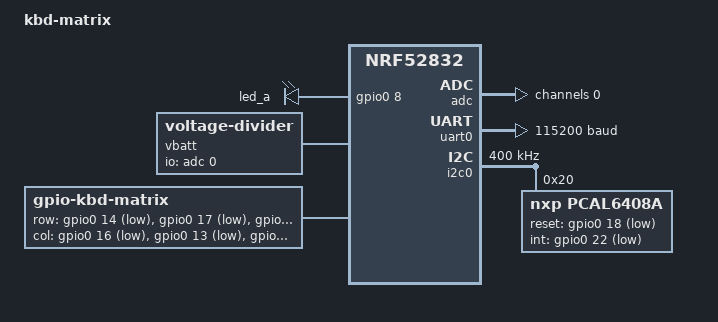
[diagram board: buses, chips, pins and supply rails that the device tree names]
/dts-v1/;
#include <nordic/nrf52832_qfaa.dtsi>
#include <zephyr/dt-bindings/input/input-event-codes.h>
#include "kbd_matrix-pinctrl.dtsi"

/ {
	model = "kbd-matrix";
	compatible = "balto,kbd-matrix";

	chosen {
		zephyr,console = &uart0;
		zephyr,shell-uart = &uart0;
		zephyr,uart-mcumgr = &uart0;
		zephyr,sram = &sram0;
		zephyr,flash = &flash0;
		zephyr,code-partition = &slot0_partition;
	};

	leds {
		compatible = "gpio-leds";
		led_a {
			gpios = <&gpio0 8 GPIO_ACTIVE_HIGH>;
		};
	};

	vbatt: vbatt {
		compatible = "voltage-divider";
		io-channels = <&adc 0>;
		output-ohms = <(560 * 1000)>;
		full-ohms = <(560 * 1000 * 2)>;
	};

	kbd-matrix {
		compatible = "gpio-kbd-matrix";
		row-gpios = <&gpio0 14 (GPIO_PULL_UP | GPIO_ACTIVE_LOW)>,
			    <&gpio0 17 (GPIO_PULL_UP | GPIO_ACTIVE_LOW)>,
			    <&gpio0 15 (GPIO_PULL_UP | GPIO_ACTIVE_LOW)>,
			    <&gpio0 11 (GPIO_PULL_UP | GPIO_ACTIVE_LOW)>,
			    <&gpio0  9 (GPIO_PULL_UP | GPIO_ACTIVE_LOW)>;
		/*
		row-gpios = <&pcal6408a 0 (GPIO_PULL_UP | GPIO_ACTIVE_LOW)>,
			    <&pcal6408a 1 (GPIO_PULL_UP | GPIO_ACTIVE_LOW)>,
			    <&pcal6408a 2 (GPIO_PULL_UP | GPIO_ACTIVE_LOW)>,
			    <&pcal6408a 3 (GPIO_PULL_UP | GPIO_ACTIVE_LOW)>,
			    <&pcal6408a 4 (GPIO_PULL_UP | GPIO_ACTIVE_LOW)>;
		*/
		col-gpios = <&gpio0 16 GPIO_ACTIVE_LOW>,
			    <&gpio0 13 GPIO_ACTIVE_LOW>,
			    <&gpio0 12 GPIO_ACTIVE_LOW>,
			    <&gpio0 10 GPIO_ACTIVE_LOW>;
		//col-drive-inactive;
		//idle-mode = "poll";
		//idle-mode = "scan";
		//poll-timeout-ms = <0>;
		//no-ghostkey-check;
	};
};

&uicr {
	nfct-pins-as-gpios;
};

&adc {
	status = "okay";
	#address-cells = <1>;
	#size-cells = <0>;

	channel@0 {
		reg = <0>;
		zephyr,gain = "ADC_GAIN_1_4";
		zephyr,reference = "ADC_REF_INTERNAL";
		zephyr,acquisition-time = <ADC_ACQ_TIME(ADC_ACQ_TIME_MICROSECONDS, 40)>;
		zephyr,input-positive = <NRF_SAADC_AIN6>;
		zephyr,resolution = <10>;
	};
};

&gpiote {
	status = "okay";
};

&gpio0 {
	status = "okay";
};

&uart0 {
	status = "okay";
	compatible = "nordic,nrf-uarte";
	current-speed = <115200>;
	pinctrl-0 = <&uart0_default>;
	pinctrl-1 = <&uart0_sleep>;
	pinctrl-names = "default", "sleep";
};

&i2c0 {
	compatible = "nordic,nrf-twi";
	status = "okay";
	clock-frequency = <I2C_BITRATE_FAST>;
	pinctrl-0 = <&i2c0_default>;
	pinctrl-1 = <&i2c0_sleep>;
	pinctrl-names = "default", "sleep";

	pcal6408a: pcal6408a@20 {
		compatible = "nxp,pcal6408a";
		status = "okay";
		reg = <0x20>;
		gpio-controller;
		#gpio-cells = <2>;
		ngpios = <8>;
		reset-gpios = <&gpio0 18 GPIO_ACTIVE_LOW>;
		int-gpios = <&gpio0 22 (GPIO_PULL_UP | GPIO_ACTIVE_LOW)>;
	};

};

&flash0 {
	partitions {
		compatible = "fixed-partitions";
		#address-cells = <1>;
		#size-cells = <1>;

		boot_partition: partition@0 {
			label = "mcuboot";
			reg = <0x00000000 0x8000>;
		};
		slot0_partition: partition@8000 {
			label = "image-0";
			reg = <0x00008000 0x3a000>;
		};
		slot1_partition: partition@42000 {
			label = "image-1";
			reg = <0x00042000 0x3a000>;
		};
		storage_partition: partition@7c000 {
			label = "storage";
			reg = <0x0007c000 0x00004000>;
		};
	};
};
